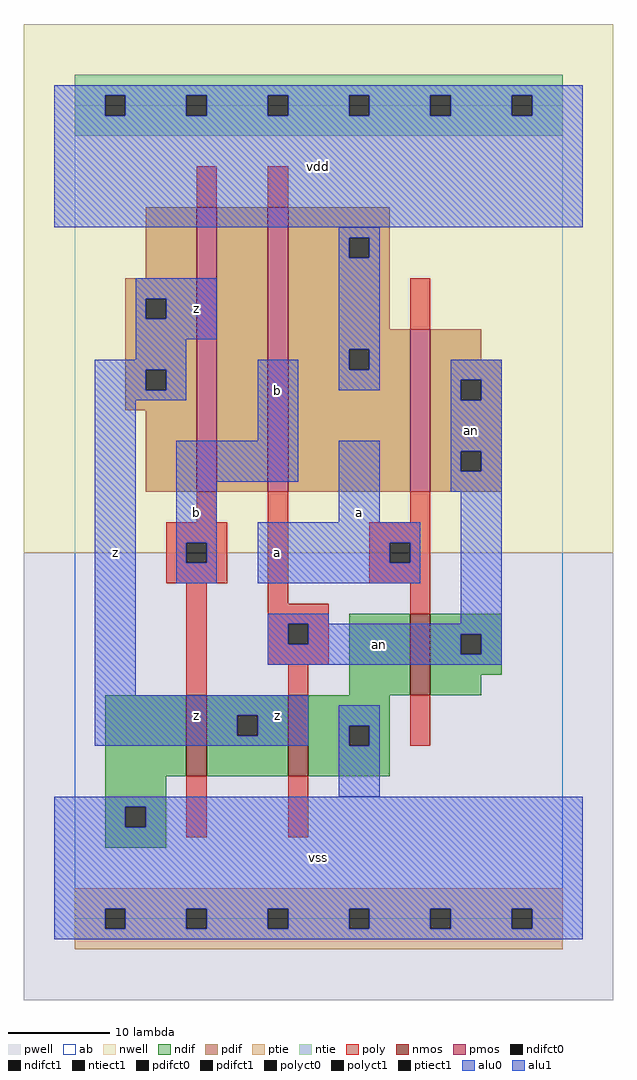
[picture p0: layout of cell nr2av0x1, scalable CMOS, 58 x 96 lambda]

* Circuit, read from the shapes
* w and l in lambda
.subckt nr2av0x1 a an b vdd vss z
M1 z b vss vss nfet w=8 l=2
M2 vss an z vss nfet w=8 l=2
M3 an a vss vss nfet w=8 l=2
M4 n1 b z vdd pfet w=28 l=2
M5 vdd an n1 vdd pfet w=28 l=2
M6 an a vdd vdd pfet w=16 l=2
.ends

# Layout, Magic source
magic
tech scmos
<< ab >>
rect 0 0 48 80
<< nwell >>
rect -5 36 53 88
<< pwell >>
rect -5 -8 53 36
<< poly >>
rect 12 70 14 74
rect 19 70 21 74
rect 33 58 35 63
rect 12 39 14 42
rect 9 37 15 39
rect 9 35 11 37
rect 13 35 15 37
rect 9 33 15 35
rect 11 22 13 33
rect 19 31 21 42
rect 33 39 35 42
rect 29 37 35 39
rect 29 35 31 37
rect 33 35 35 37
rect 29 33 35 35
rect 19 29 25 31
rect 33 30 35 33
rect 19 27 21 29
rect 23 27 25 29
rect 19 25 25 27
rect 21 22 23 25
rect 33 17 35 22
rect 11 8 13 14
rect 21 8 23 14
<< ndif >>
rect 27 22 33 30
rect 35 28 42 30
rect 35 26 38 28
rect 40 26 42 28
rect 35 24 42 26
rect 35 22 40 24
rect 3 14 11 22
rect 13 20 21 22
rect 13 18 16 20
rect 18 18 21 20
rect 13 14 21 18
rect 23 19 31 22
rect 23 17 27 19
rect 29 17 31 19
rect 23 14 31 17
rect 3 11 9 14
rect 3 9 5 11
rect 7 9 9 11
rect 3 7 9 9
<< pdif >>
rect 7 63 12 70
rect 5 61 12 63
rect 5 59 7 61
rect 9 59 12 61
rect 5 54 12 59
rect 5 52 7 54
rect 9 52 12 54
rect 5 50 12 52
rect 7 42 12 50
rect 14 42 19 70
rect 21 67 31 70
rect 21 65 27 67
rect 29 65 31 67
rect 21 58 31 65
rect 21 56 33 58
rect 21 54 27 56
rect 29 54 33 56
rect 21 42 33 54
rect 35 55 40 58
rect 35 53 42 55
rect 35 51 38 53
rect 40 51 42 53
rect 35 46 42 51
rect 35 44 38 46
rect 40 44 42 46
rect 35 42 42 44
<< alu1 >>
rect -2 81 50 82
rect -2 79 3 81
rect 5 79 11 81
rect 13 79 19 81
rect 21 79 27 81
rect 29 79 35 81
rect 37 79 43 81
rect 45 79 50 81
rect -2 68 50 79
rect 6 61 14 63
rect 6 59 7 61
rect 9 59 14 61
rect 6 57 14 59
rect 6 55 11 57
rect 2 54 11 55
rect 2 52 7 54
rect 9 52 11 54
rect 2 51 11 52
rect 2 22 6 51
rect 18 47 22 55
rect 10 43 22 47
rect 10 37 14 43
rect 26 39 30 47
rect 10 35 11 37
rect 13 35 14 37
rect 10 33 14 35
rect 18 37 34 39
rect 18 35 31 37
rect 33 35 34 37
rect 18 33 34 35
rect 2 20 23 22
rect 2 18 16 20
rect 18 18 23 20
rect 2 17 23 18
rect -2 11 50 12
rect -2 9 5 11
rect 7 9 50 11
rect -2 1 50 9
rect -2 -1 3 1
rect 5 -1 11 1
rect 13 -1 19 1
rect 21 -1 27 1
rect 29 -1 35 1
rect 37 -1 43 1
rect 45 -1 50 1
rect -2 -2 50 -1
<< ptie >>
rect 0 1 48 3
rect 0 -1 3 1
rect 5 -1 11 1
rect 13 -1 19 1
rect 21 -1 27 1
rect 29 -1 35 1
rect 37 -1 43 1
rect 45 -1 48 1
rect 0 -3 48 -1
<< ntie >>
rect 0 81 48 83
rect 0 79 3 81
rect 5 79 11 81
rect 13 79 19 81
rect 21 79 27 81
rect 29 79 35 81
rect 37 79 43 81
rect 45 79 48 81
rect 0 77 48 79
<< nmos >>
rect 33 22 35 30
rect 11 14 13 22
rect 21 14 23 22
<< pmos >>
rect 12 42 14 70
rect 19 42 21 70
rect 33 42 35 58
<< polyct0 >>
rect 21 27 23 29
<< polyct1 >>
rect 11 35 13 37
rect 31 35 33 37
<< ndifct0 >>
rect 38 26 40 28
rect 27 17 29 19
<< ndifct1 >>
rect 16 18 18 20
rect 5 9 7 11
<< ntiect1 >>
rect 3 79 5 81
rect 11 79 13 81
rect 19 79 21 81
rect 27 79 29 81
rect 35 79 37 81
rect 43 79 45 81
<< ptiect1 >>
rect 3 -1 5 1
rect 11 -1 13 1
rect 19 -1 21 1
rect 27 -1 29 1
rect 35 -1 37 1
rect 43 -1 45 1
<< pdifct0 >>
rect 27 65 29 67
rect 27 54 29 56
rect 38 51 40 53
rect 38 44 40 46
<< pdifct1 >>
rect 7 59 9 61
rect 7 52 9 54
<< alu0 >>
rect 26 67 30 68
rect 26 65 27 67
rect 29 65 30 67
rect 26 56 30 65
rect 26 54 27 56
rect 29 54 30 56
rect 26 52 30 54
rect 37 53 42 55
rect 37 51 38 53
rect 40 51 42 53
rect 37 46 42 51
rect 37 44 38 46
rect 40 44 42 46
rect 37 42 42 44
rect 19 29 25 30
rect 38 29 42 42
rect 19 27 21 29
rect 23 28 42 29
rect 23 27 38 28
rect 19 26 38 27
rect 40 26 42 28
rect 19 25 42 26
rect 26 19 30 21
rect 26 17 27 19
rect 29 17 30 19
rect 26 12 30 17
<< labels >>
rlabel alu0 30 27 30 27 6 an
rlabel alu0 39 48 39 48 6 an
rlabel alu1 4 36 4 36 6 z
rlabel alu1 20 20 20 20 6 z
rlabel alu1 12 20 12 20 6 z
rlabel alu1 20 36 20 36 6 a
rlabel alu1 12 40 12 40 6 b
rlabel alu1 20 52 20 52 6 b
rlabel alu1 12 60 12 60 6 z
rlabel alu1 24 6 24 6 6 vss
rlabel alu1 28 40 28 40 6 a
rlabel alu1 24 74 24 74 6 vdd
<< end >>
